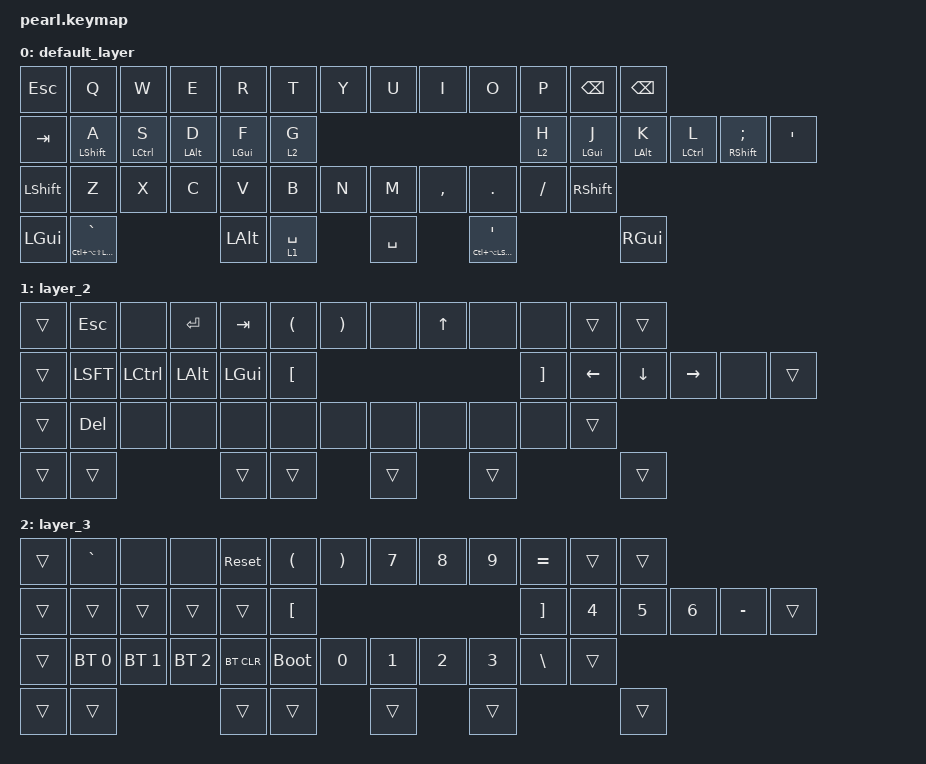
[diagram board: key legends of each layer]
/*
 * Copyright (c) 2020 The ZMK Contributors
 *
 * SPDX-License-Identifier: MIT
 */

#include <behaviors.dtsi>
#include <dt-bindings/zmk/keys.h>
#include <dt-bindings/zmk/bt.h>
#include <dt-bindings/zmk/outputs.h>
#include <dt-bindings/zmk/ext_power.h>
#include <dt-bindings/zmk/rgb.h>

&mt {
   tapping_term_ms = <190>;
};

/ {
behaviors {
                hm: homerow_mods {
                        compatible = "zmk,behavior-hold-tap";
                        label = "HOMEROW_MODS";
                        #binding-cells = <2>;
                        tapping-term-ms = <190>;
                        quick-tap-ms = <0>;
                        flavor = "tap-preferred";
                        bindings = <&kp>, <&kp>;
                };
                hl: homerow_layers {
                        compatible = "zmk,behavior-hold-tap";
                        label = "HOMEROW_LAYERS";
                        #binding-cells = <2>;
                        tapping-term-ms = <190>;
                        quick-tap-ms = <0>;
                        flavor = "tap-preferred";
                        bindings = <&mo>, <&kp>;
                };
   };

   keymap {
		compatible = "zmk,keymap";
		default_layer {
			bindings = <
      &kp ESC          &kp Q     &kp W      &kp E      &kp R      &kp T     &kp Y  &kp U  &kp I      &kp O    &kp P     &kp BSPC     &kp BSPC
      &kp TAB          &hm LSHFT A   &hm LCTRL S   &hm LALT D    &hm LGUI F    &hl 2 G     &hl 2 H       &hm LGUI J    &hm LALT K    &hm LCTRL L   &hm RSHFT SEMI  &kp SQT
      &kp LSHIFT       &kp Z     &kp X      &kp C      &kp V      &kp B     &kp N  &kp M  &kp COMMA  &kp DOT  &kp FSLH  &kp RSHIFT
      &kp LGUI         &hm LC(LA(LS(LGUI))) GRAVE      &kp LALT   &lt 1 SPACE      &kp SPACE         &hm LC(LA(LSHFT)) SQT           &kp RGUI
			>;
		};

		layer_2 {
			bindings = <
			&trans        &kp ESC   &none      &kp RET    &kp TAB    &kp LPAR          &kp RPAR      &none    &kp UP    &none   &none         &trans     &trans
			&trans        &kp LSFT  &kp LCTRL  &kp LALT   &kp LGUI   &kp LBKT          &kp RBKT     &kp LEFT &kp DOWN  &kp RIGHT   &none      &trans
			&trans        &kp DEL   &none   &none   &none    &none                     &none    &none     &none    &none      &none           &trans
			&trans        &trans  &trans   &trans  &trans   &trans  &trans
			>;
		};

		layer_3 {
			bindings = <
			&trans        &kp GRAVE  &none   &none   &sys_reset    &kp LPAR            &kp RPAR   &kp N7    &kp N8  &kp N9    &kp EQUAL         &trans     &trans
			&trans        &trans        &trans       &trans          &trans        &kp LBKT                     &kp RBKT      &kp N4         &kp N5      &kp N6          &kp MINUS           &trans
			&trans        &bt BT_SEL 0  &bt BT_SEL 1 &bt BT_SEL 2    &bt BT_CLR    &bootloader                  &kp N0        &kp N1         &kp N2      &kp N3          &kp BSLH           &trans
			&trans        &trans  &trans   &trans  &trans   &trans  &trans
			>;
		};
	};
	};
